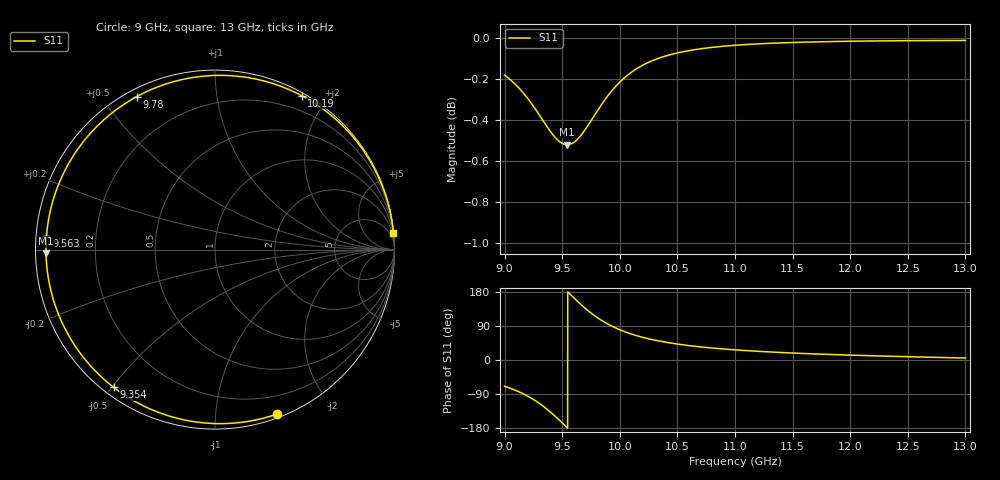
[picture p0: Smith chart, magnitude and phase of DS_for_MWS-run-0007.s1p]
! TOUCHSTONE file generated by CST DESIGN STUDIO
! Date and time: Wed Feb  5 13:33:25 2025
! Project name: C:\Work\MatlabApps\UnitCellOptimizationMatlab\CST\unitcell.cst
! Tree item: Tasks\Sweep1\SPara1\S-Parameters
! Header version: 2024
! Port assignment regex: !\s*Touchstone port\s*([0-9]+)\s*=\s*(CST MWS port|CST DES external port|CST DES block port)\s*(.+)\s* \(\"(.*)\"\)(\s*mode\s*([0-9]+))?.*
! Touchstone port assignment:
! Touchstone port 1 = CST DES external port 1 ("")
# GHz S MA R 50
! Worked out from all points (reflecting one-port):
!   4001 points, 9 GHz to 13 GHz, reference 50 ohm
!   lowest |S11| = -0.5 dB at 9.543 GHz (marker M1), VSWR 33.41, Z = 1.5 - j0.549 ohm
!   phase of S11 starts at -69 deg and turns -285 deg over the sweep
!   S11 on the Smith chart (normalised r, x): 9 GHz: 0.03, -1.45; 9.354 GHz: 0.03, -0.51; 9.563 GHz: 0.03, +0.04; 9.78 GHz: 0.03, +0.61; 10.19 GHz: 0.03, +1.71; 13 GHz: 0, +22
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9  0.9792 -69.3
9.101  0.9737 -80.8
9.21  0.9658 -97.0
9.286  0.9591 -111.2
9.354  0.9527 -126.3
9.424  0.9467 -144.3
9.464  0.9441 -155.4
9.5  0.9426 -165.9
9.543  0.9419 -178.7
9.563  0.942 175.3
9.617  0.9439 159.3
9.678  0.948 142.2
9.729  0.9526 129.0
9.78  0.9575 117.1
9.827  0.962 107.3
9.878  0.9665 97.9
9.934  0.971 88.9
10  0.9755 79.8
10.09  0.9803 69.5
10.188  0.9843 60.6
10.331  0.9884 50.7
10.5  0.9915 42.1
10.721  0.994 33.9
11  0.9958 26.8
11.5  0.9973 18.4
12  0.998 12.8
12.5  0.9983 8.7
13  0.9985 5.2
